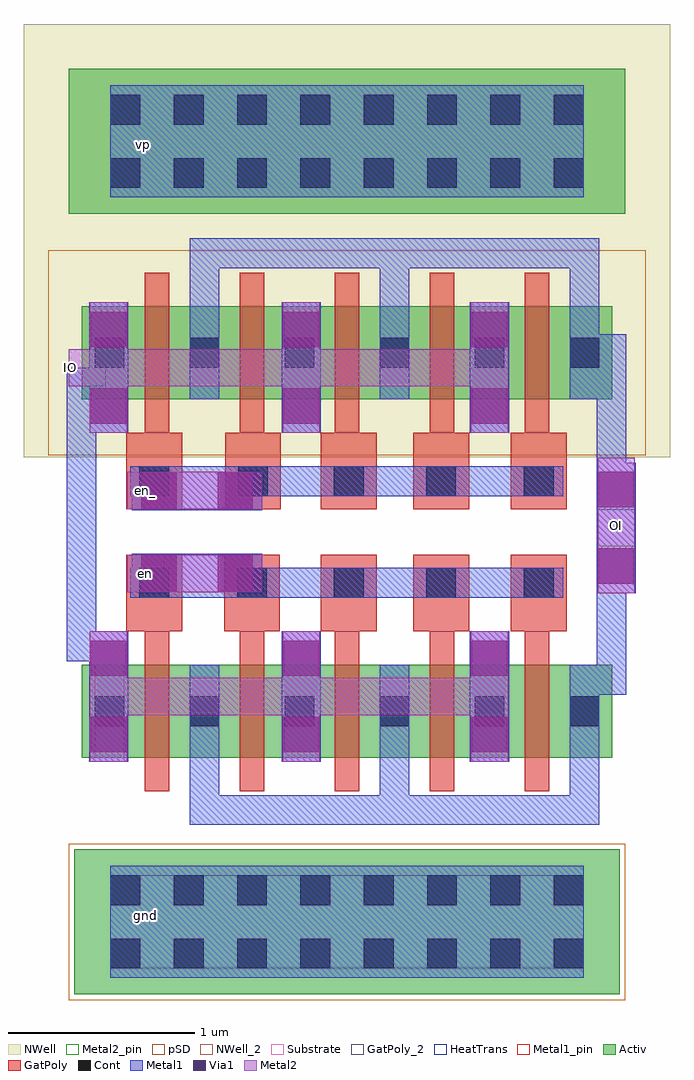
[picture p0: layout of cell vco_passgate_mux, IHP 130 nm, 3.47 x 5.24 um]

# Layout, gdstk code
from math import pi, radians
import gdstk
lib = gdstk.Library(unit=1e-6, precision=1e-09)
def R(c, l, rs):  # rectangles x0, y0, x1, y1
    for r in rs: c.add(gdstk.rectangle(r[:2], r[2:], *l))
def A(c, l, x, y, w, h, nx, ny, dx, dy):  # array of equal rectangles
    R(c, l, [(x+i*dx, y+j*dy, x+i*dx+w, y+j*dy+h) for i in range(nx) for j in range(ny)])
Activ = (1, 0)
GatPoly = (5, 0)
GatPoly_2 = (5, 2)
Cont = (6, 0)
Metal1 = (8, 0)
Metal1_pin = (8, 2)
Metal2 = (10, 0)
Metal2_pin = (10, 2)
pSD = (14, 0)
Via1 = (19, 0)
NWell = (31, 0)
NWell_2 = (31, 2)
Substrate = (40, 0)
HeatTrans = (51, 0)

ntap1 = lib.new_cell('ntap1')
R(ntap1, Activ, [(0,0,2.99,0.78)])
A(ntap1, Cont, 0.225, 0.14, 0.16, 0.16, 8, 2, 0.34, 0.34)
R(ntap1, Metal1, [(0.225,0.09,2.765,0.69)])
R(ntap1, Metal1_pin, [(0.225,0.09,2.765,0.69), (0.225,0.14,2.765,0.64)])
R(ntap1, NWell, [(-0.24,-0.24,3.23,1.02), (0,0,2.99,0.78)])
R(ntap1, NWell_2, [(0,0,2.99,0.78)])
ntap1.add(gdstk.Label('well', (1.495,0.01), layer=63, texttype=0))
ntap1.add(gdstk.Label('well', (1.495,0.01), layer=31, texttype=0))

pmos = lib.new_cell('pmos')
A(pmos, Activ, 0, 0, 0.3, 0.3, 6, 1, 0.51, 0)
R(pmos, Activ, [(0,0,2.85,0.5)])
A(pmos, GatPoly, 0.34, -0.18, 0.13, 0.86, 5, 1, 0.51, 0)
R(pmos, GatPoly, [(0.34,-0.18,0.47,0.68)])
A(pmos, Cont, 0.07, 0.17, 0.16, 0.16, 6, 1, 0.51, 0)
A(pmos, Metal1, 0.58, 0, 0.16, 0.5, 5, 1, 0.51, 0)
R(pmos, Metal1, [(0.07,0,0.23,0.5), (0.07,0,0.23,0.5), (0.58,0,0.74,0.5)])
R(pmos, pSD, [(-0.18,-0.3,3.03,0.8)])
R(pmos, NWell, [(-0.31,-0.31,3.16,0.81)])
A(pmos, HeatTrans, 0.34, -0.18, 0.13, 0.86, 5, 1, 0.51, 0)
pmos.add(gdstk.Label('pmos', (0.405,0.25), layer=63, texttype=0))
pmos.add(gdstk.Label('pmos', (0.405,0.25), layer=51, texttype=0))
pmos.add(gdstk.Label('pmos', (0.915,0.25), layer=51, texttype=0))
pmos.add(gdstk.Label('pmos', (1.425,0.25), layer=51, texttype=0))
pmos.add(gdstk.Label('pmos', (1.935,0.25), layer=51, texttype=0))
pmos.add(gdstk.Label('pmos', (2.445,0.25), layer=51, texttype=0))

ptap1 = lib.new_cell('ptap1')
R(ptap1, Activ, [(0,0,2.93,0.78)])
A(ptap1, Cont, 0.195, 0.14, 0.16, 0.16, 8, 2, 0.34, 0.34)
R(ptap1, Metal1, [(0.195,0.09,2.735,0.69), (0.195,0.14,2.735,0.64)])
R(ptap1, Metal1_pin, [(0.195,0.14,2.735,0.64)])
R(ptap1, pSD, [(-0.03,-0.03,2.96,0.81)])
R(ptap1, Substrate, [(0,0,2.93,0.78)])
ptap1.add(gdstk.Label('sub!', (1.465,0.01), layer=63, texttype=0))
ptap1.add(gdstk.Label('sub!', (1.465,0.01), layer=40, texttype=0))

nmos = lib.new_cell('nmos')
A(nmos, Activ, 0, 0, 0.3, 0.3, 6, 1, 0.51, 0)
R(nmos, Activ, [(0,0,2.85,0.5)])
A(nmos, GatPoly, 0.34, -0.18, 0.13, 0.86, 5, 1, 0.51, 0)
R(nmos, GatPoly_2, [(0.34,-0.18,0.47,0.68)])
A(nmos, Cont, 0.07, 0.17, 0.16, 0.16, 6, 1, 0.51, 0)
A(nmos, Metal1, 0.07, 0, 0.16, 0.5, 6, 1, 0.51, 0)
R(nmos, Metal1_pin, [(0.07,0,0.23,0.5), (0.58,0,0.74,0.5)])
A(nmos, HeatTrans, 0.34, -0.18, 0.13, 0.86, 5, 1, 0.51, 0)
nmos.add(gdstk.Label('nmos', (0.405,0.25), layer=63, texttype=0))
nmos.add(gdstk.Label('nmos', (0.405,0.25), layer=51, texttype=0))
nmos.add(gdstk.Label('nmos', (0.915,0.25), layer=51, texttype=0))
nmos.add(gdstk.Label('nmos', (1.425,0.25), layer=51, texttype=0))
nmos.add(gdstk.Label('nmos', (1.935,0.25), layer=51, texttype=0))
nmos.add(gdstk.Label('nmos', (2.445,0.25), layer=51, texttype=0))

via = lib.new_cell('Via')
R(via, Metal1, [(-0.35,-0.105,0.35,0.105)])
R(via, Metal2, [(-0.35,-0.1,0.35,0.1)])
R(via, Via1, [(-0.3,-0.095,-0.11,0.095), (0.11,-0.095,0.3,0.095)])

via_6 = lib.new_cell('Via$6')
R(via_6, GatPoly, [(-0.15,-0.15,0.15,0.15)])
R(via_6, Cont, [(-0.08,-0.08,0.08,0.08)])
R(via_6, Metal1, [(-0.13,-0.08,0.13,0.08)])

vco_passgate_mux = lib.new_cell('vco_passgate_mux')
R(vco_passgate_mux, GatPoly, [(9.08,7.845,9.38,7.955), (9.605,7.845,9.905,7.955), (10.125,7.845,10.425,7.955), (10.62,7.845,10.92,7.955), (11.145,7.845,11.445,7.955), (9.08,8.8,9.38,8.91), (9.61,8.8,9.91,8.91), (10.125,8.8,10.425,8.91), (10.62,8.8,10.92,8.91), (11.145,8.8,11.445,8.91)])
R(vco_passgate_mux, Metal1_pin, [(9.085,6.22,9.285,6.42), (9.075,10.36,9.275,10.56)])
R(vco_passgate_mux, Metal2_pin, [(9.085,8.055,9.285,8.255), (9.61,8.055,9.81,8.255), (11.61,8.3,11.81,8.5), (9.085,8.5,9.285,8.7), (9.61,8.5,9.81,8.7), (8.77,9.16,8.97,9.36)])
vco_passgate_mux.add(gdstk.FlexPath([(8.84,8.135),(8.84,9.18),(9.08,9.18)], 0.16, ends="flush", simple_path=True, layer=8, datatype=0))  # Metal1
vco_passgate_mux.add(gdstk.FlexPath([(11.685,8.21),(11.685,9.36),(11.46,9.36)], 0.16, ends="flush", simple_path=True, layer=8, datatype=0))  # Metal1
vco_passgate_mux.add(gdstk.FlexPath([(11.03,7.495),(11.03,7.495)], 0.16, ends="flush", simple_path=True, layer=8, datatype=0))  # Metal1
vco_passgate_mux.add(gdstk.FlexPath([(8.985,7.495),(8.985,7.495)], 0.16, ends="flush", simple_path=True, layer=8, datatype=0))  # Metal1
vco_passgate_mux.add(gdstk.FlexPath([(10.52,7.415),(10.52,6.885)], 0.16, ends="flush", simple_path=True, layer=8, datatype=0))  # Metal1
vco_passgate_mux.add(gdstk.FlexPath([(10.08,6.885),(11.54,6.885),(11.54,7.165)], 0.16, ends="flush", simple_path=True, layer=8, datatype=0))  # Metal1
vco_passgate_mux.add(gdstk.FlexPath([(9.5,7.415),(9.5,6.885),(10.13,6.885)], 0.16, ends="flush", simple_path=True, layer=8, datatype=0))  # Metal1
vco_passgate_mux.add(gdstk.FlexPath([(11.685,8.36),(11.685,7.585),(11.46,7.585)], 0.16, ends="flush", simple_path=True, layer=8, datatype=0))  # Metal1
vco_passgate_mux.add(gdstk.FlexPath([(8.84,8.31),(8.84,7.765),(9.08,7.765)], 0.16, ends="flush", simple_path=True, layer=8, datatype=0))  # Metal1
vco_passgate_mux.add(gdstk.FlexPath([(11.425,8.105),(9.1,8.105)], 0.16, ends="flush", simple_path=True, layer=8, datatype=0))  # Metal1
vco_passgate_mux.add(gdstk.FlexPath([(10.02,7.495),(10.02,7.495)], 0.16, ends="flush", simple_path=True, layer=8, datatype=0))  # Metal1
vco_passgate_mux.add(gdstk.FlexPath([(9.5,9.34),(9.5,9.875),(10.44,9.875)], 0.16, ends="flush", simple_path=True, layer=8, datatype=0))  # Metal1
vco_passgate_mux.add(gdstk.FlexPath([(10.41,9.875),(11.54,9.875),(11.54,9.42)], 0.16, ends="flush", simple_path=True, layer=8, datatype=0))  # Metal1
vco_passgate_mux.add(gdstk.FlexPath([(10.52,9.34),(10.52,9.855)], 0.16, ends="flush", simple_path=True, layer=8, datatype=0))  # Metal1
vco_passgate_mux.add(gdstk.FlexPath([(8.985,9.26),(8.985,9.26)], 0.16, ends="flush", simple_path=True, layer=8, datatype=0))  # Metal1
vco_passgate_mux.add(gdstk.FlexPath([(10.02,9.26),(10.02,9.26)], 0.16, ends="flush", simple_path=True, layer=8, datatype=0))  # Metal1
vco_passgate_mux.add(gdstk.FlexPath([(11.03,9.26),(11.03,9.26)], 0.16, ends="flush", simple_path=True, layer=8, datatype=0))  # Metal1
vco_passgate_mux.add(gdstk.FlexPath([(11.425,8.65),(9.1,8.65)], 0.16, ends="flush", simple_path=True, layer=8, datatype=0))  # Metal1
vco_passgate_mux.add(gdstk.FlexPath([(11.03,7.495),(11.03,7.495)], 0.3, ends="flush", simple_path=True, layer=10, datatype=0))  # Metal2
vco_passgate_mux.add(gdstk.FlexPath([(8.985,7.495),(8.985,7.495)], 0.3, ends="flush", simple_path=True, layer=10, datatype=0))  # Metal2
vco_passgate_mux.add(gdstk.FlexPath([(11.03,7.495),(8.985,7.495)], 0.2, ends="flush", simple_path=True, layer=10, datatype=0))  # Metal2
vco_passgate_mux.add(gdstk.FlexPath([(9.81,8.155),(9.11,8.155)], 0.2, ends="flush", simple_path=True, layer=10, datatype=0))  # Metal2
vco_passgate_mux.add(gdstk.FlexPath([(9.21,8.155),(9.085,8.155)], 0.2, ends="flush", simple_path=True, layer=10, datatype=0))  # Metal2
vco_passgate_mux.add(gdstk.FlexPath([(10.02,7.495),(10.02,7.495)], 0.3, ends="flush", simple_path=True, layer=10, datatype=0))  # Metal2
vco_passgate_mux.add(gdstk.FlexPath([(9.81,8.6),(9.11,8.6)], 0.2, ends="flush", simple_path=True, layer=10, datatype=0))  # Metal2
vco_passgate_mux.add(gdstk.FlexPath([(9.21,8.6),(9.085,8.6)], 0.2, ends="flush", simple_path=True, layer=10, datatype=0))  # Metal2
vco_passgate_mux.add(gdstk.FlexPath([(8.985,9.26),(8.77,9.26)], 0.2, ends="flush", simple_path=True, layer=10, datatype=0))  # Metal2
vco_passgate_mux.add(gdstk.FlexPath([(11.03,9.26),(8.985,9.26)], 0.2, ends="flush", simple_path=True, layer=10, datatype=0))  # Metal2
vco_passgate_mux.add(gdstk.FlexPath([(8.985,9.26),(8.985,9.26)], 0.3, ends="flush", simple_path=True, layer=10, datatype=0))  # Metal2
vco_passgate_mux.add(gdstk.FlexPath([(10.02,9.26),(10.02,9.26)], 0.3, ends="flush", simple_path=True, layer=10, datatype=0))  # Metal2
vco_passgate_mux.add(gdstk.FlexPath([(11.03,9.26),(11.03,9.26)], 0.3, ends="flush", simple_path=True, layer=10, datatype=0))  # Metal2
vco_passgate_mux.add(gdstk.FlexPath([(11.71,8.05),(11.71,8.75)], 0.2, ends="flush", simple_path=True, layer=10, datatype=0))  # Metal2
vco_passgate_mux.add(gdstk.FlexPath([(11.71,8.65),(11.71,8.775)], 0.2, ends="flush", simple_path=True, layer=10, datatype=0))  # Metal2
vco_passgate_mux.add(gdstk.Reference(ntap1, (8.77,10.085)))
vco_passgate_mux.add(gdstk.Reference(pmos, (8.84,9.09)))
vco_passgate_mux.add(gdstk.Reference(ptap1, (8.8,5.895)))
vco_passgate_mux.add(gdstk.Reference(nmos, (8.84,7.165)))
vco_passgate_mux.add(gdstk.Reference(via, (11.03,7.495), rotation=3*pi/2))
vco_passgate_mux.add(gdstk.Reference(via, (8.985,7.495), rotation=3*pi/2))
vco_passgate_mux.add(gdstk.Reference(via_6, (11.295,8.105)))
vco_passgate_mux.add(gdstk.Reference(via, (9.46,8.155)))
vco_passgate_mux.add(gdstk.Reference(via_6, (10.77,8.105)))
vco_passgate_mux.add(gdstk.Reference(via_6, (9.23,8.105)))
vco_passgate_mux.add(gdstk.Reference(via_6, (10.275,8.105)))
vco_passgate_mux.add(gdstk.Reference(via_6, (9.755,8.105)))
vco_passgate_mux.add(gdstk.Reference(via, (10.02,7.495), rotation=3*pi/2))
vco_passgate_mux.add(gdstk.Reference(via, (9.46,8.6)))
vco_passgate_mux.add(gdstk.Reference(via, (8.985,9.26), rotation=3*pi/2))
vco_passgate_mux.add(gdstk.Reference(via, (11.03,9.26), rotation=3*pi/2))
vco_passgate_mux.add(gdstk.Reference(via, (10.02,9.26), rotation=3*pi/2))
vco_passgate_mux.add(gdstk.Reference(via_6, (11.295,8.65), rotation=pi))
vco_passgate_mux.add(gdstk.Reference(via_6, (10.77,8.65), rotation=pi))
vco_passgate_mux.add(gdstk.Reference(via_6, (10.275,8.65), rotation=pi))
vco_passgate_mux.add(gdstk.Reference(via_6, (9.23,8.65), rotation=pi))
vco_passgate_mux.add(gdstk.Reference(via_6, (9.76,8.65), rotation=pi))
vco_passgate_mux.add(gdstk.Reference(via, (11.71,8.4), rotation=3*pi/2))
vco_passgate_mux.add(gdstk.Label('en', (9.185,8.155), layer=10, texttype=25))
vco_passgate_mux.add(gdstk.Label('en_', (9.185,8.6), layer=10, texttype=25))
vco_passgate_mux.add(gdstk.Label('IO', (8.78,9.26), layer=10, texttype=25))
vco_passgate_mux.add(gdstk.Label('OI', (11.71,8.415), layer=10, texttype=25))
vco_passgate_mux.add(gdstk.Label('vp', (9.175,10.46), layer=8, texttype=25))
vco_passgate_mux.add(gdstk.Label('gnd', (9.185,6.32), layer=8, texttype=25))

lib.write_gds('vco_passgate_mux.gds')
